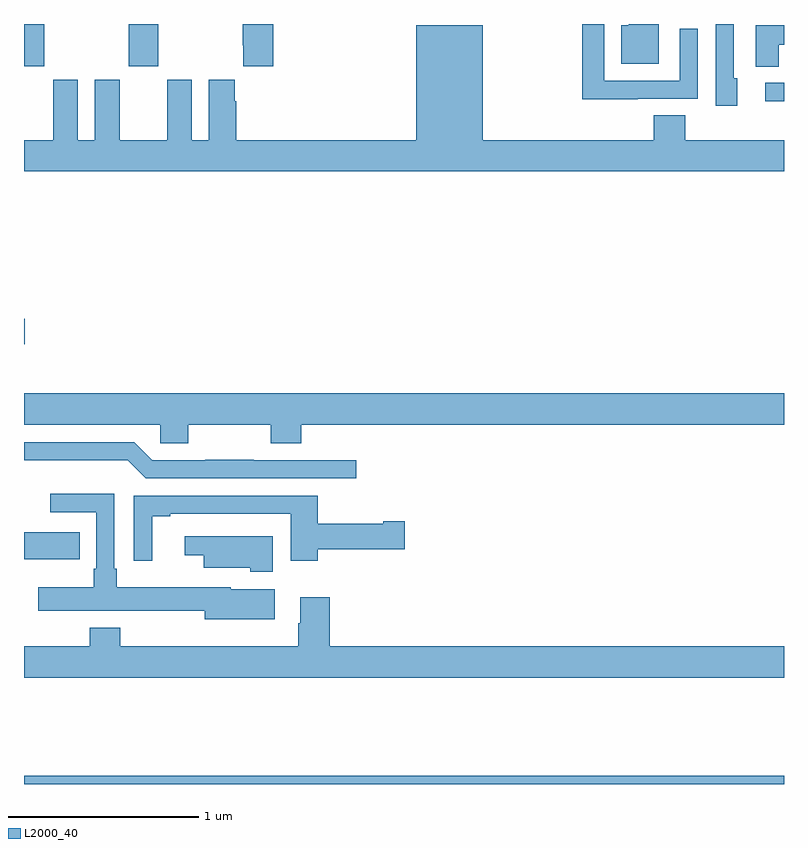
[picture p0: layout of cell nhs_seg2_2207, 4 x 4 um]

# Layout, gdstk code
import gdstk
lib = gdstk.Library(unit=1e-6, precision=1e-09)
def R(c, l, rs):  # rectangles x0, y0, x1, y1
    for r in rs: c.add(gdstk.rectangle(r[:2], r[2:], *l))
def P(c, l, *ps):  # polygons
    for p in ps: c.add(gdstk.Polygon(p, *l))
L2000_40 = (2000, 40)

nhs_seg2_2207 = lib.new_cell('nhs_seg2_2207')
R(nhs_seg2_2207, L2000_40, [(227,589.8,231,589.844), (227,590.984,227.294,591.124), (227,592.115,227.005,592.25), (230.901,593.393,231,593.49), (227,593.577,227.106,593.8), (227.551,593.577,227.706,593.8)])
P(nhs_seg2_2207, L2000_40, [(228.311,593.8),(228.151,593.8),(228.151,593.689),(228.155,593.689),(228.155,593.577),(228.311,593.577)],
  [(230.341,593.8),(230.183,593.8),(230.183,593.794),(230.144,593.794),(230.144,593.591),(230.341,593.591)],
  [(230.231,593.406),(230.547,593.406),(230.547,593.776),(230.451,593.776),(230.451,593.502),(230.055,593.502),(230.055,593.8),(229.939,593.8),(229.939,593.405),(230.231,593.405)],
  [(230.755,593.514),(230.736,593.514),(230.736,593.8),(230.64,593.8),(230.64,593.37),(230.755,593.37)],
  [(231,593.188),(230.48,593.188),(230.48,593.321),(230.315,593.321),(230.315,593.188),(229.414,593.188),(229.414,593.794),(229.064,593.794),(229.064,593.188),(228.116,593.188),(228.116,593.393),(228.109,593.393),(228.109,593.506),(227.972,593.506),(227.972,593.188),(227.884,593.188),(227.884,593.506),(227.753,593.506),(227.753,593.188),(227.503,593.188),(227.503,593.506),(227.372,593.506),(227.372,593.188),(227.284,593.188),(227.284,593.506),(227.153,593.506),(227.153,593.188),(227,593.188),(227,593.024),(231,593.024)],
  [(230.973,593.69),(231,593.69),(231,593.794),(230.852,593.794),(230.852,593.575),(230.973,593.575)],
  [(228.458,591.692),(231,591.692),(231,591.856),(227,591.856),(227,591.692),(227.718,591.692),(227.718,591.594),(227.865,591.594),(227.865,591.692),(228.298,591.692),(228.298,591.593),(228.458,591.593)],
  [(228.748,591.504),(228.209,591.504),(228.209,591.506),(227.953,591.506),(227.953,591.504),(227.676,591.504),(227.58,591.6),(227,591.6),(227,591.503),(227.545,591.503),(227.64,591.408),(228.748,591.408)],
  [(228.319,590.824),(228.087,590.824),(228.087,590.836),(227.488,590.836),(227.488,590.932),(227.475,590.932),(227.475,591.328),(227.139,591.328),(227.139,591.231),(227.379,591.231),(227.379,590.932),(227.367,590.932),(227.367,590.836),(227.076,590.836),(227.076,590.711),(227.951,590.711),(227.951,590.666),(228.319,590.666)],
  [(227.674,591.21),(227.77,591.21),(227.77,591.222),(228.404,591.222),(228.404,590.976),(228.545,590.976),(228.545,591.035),(229.003,591.035),(229.003,591.182),(228.89,591.182),(228.89,591.169),(228.545,591.169),(228.545,591.318),(227.577,591.318),(227.577,590.976),(227.674,590.976)],
  [(228.31,591.103),(227.847,591.103),(227.847,591.005),(227.945,591.005),(227.945,590.939),(228.192,590.939),(228.192,590.918),(228.31,590.918)],
  [(231,590.524),(228.608,590.524),(228.608,590.782),(228.455,590.782),(228.455,590.645),(228.443,590.645),(228.443,590.524),(227.507,590.524),(227.507,590.623),(227.347,590.623),(227.347,590.524),(227,590.524),(227,590.36),(231,590.36)])

lib.write_gds('nhs_seg2_2207.gds')
